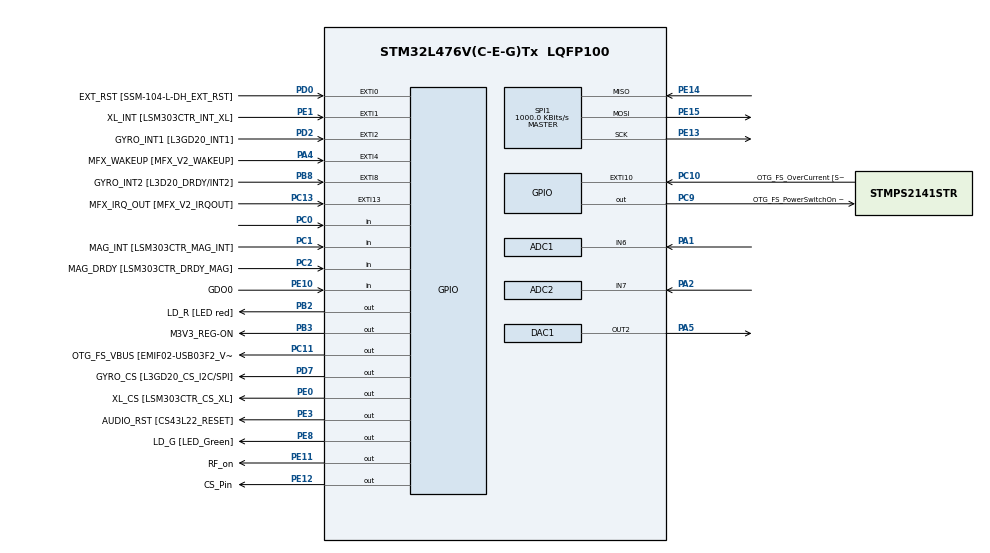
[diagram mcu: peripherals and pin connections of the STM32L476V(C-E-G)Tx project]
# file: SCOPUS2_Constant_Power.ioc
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ADC1.Channel-0\#ChannelRegularConversion=ADC_CHANNEL_6
ADC1.NbrOfConversionFlag=1
ADC1.OffsetNumber-0\#ChannelRegularConversion=ADC_OFFSET_NONE
ADC1.Rank-0\#ChannelRegularConversion=1
ADC1.SamplingTime-0\#ChannelRegularConversion=ADC_SAMPLETIME_2CYCLES_5
ADC1.master=1
ADC2.Channel-1\#ChannelRegularConversion=ADC_CHANNEL_7
ADC2.NbrOfConversionFlag=1
ADC2.OffsetNumber-1\#ChannelRegularConversion=ADC_OFFSET_NONE
ADC2.Rank-1\#ChannelRegularConversion=1
ADC2.SamplingTime-1\#ChannelRegularConversion=ADC_SAMPLETIME_2CYCLES_5
DAC1.DAC_Channel-DAC_OUT2=DAC_CHANNEL_2
Mcu.Family=STM32L4
Mcu.Name=STM32L476V(C-E-G)Tx
Mcu.Package=LQFP100
NVIC.PriorityGroup=NVIC_PRIORITYGROUP_4
NVIC.TIM7_IRQn=true\:0\:0\:false\:false\:true\:true\:true
PA1.Signal=ADCx_IN6
PA10.GPIO_Label=COM2 [GH08172T_COM2]
PA10.GPIO_Mode=GPIO_MODE_AF_PP
PA10.GPIO_PuPd=GPIO_NOPULL
PA10.GPIO_Speed=GPIO_SPEED_FREQ_LOW
PA10.Signal=LCD_COM2
PA11.GPIO_Label=OTG_FS_DM [EMIF02-USB03F2_D-out]
PA11.GPIO_Mode=GPIO_MODE_AF_PP
PA11.GPIO_PuPd=GPIO_NOPULL
PA11.GPIO_Speed=GPIO_SPEED_FREQ_VERY_HIGH
PA11.Signal=USB_OTG_FS_DM
PA12.GPIO_Label=OTG_FS_DP [EMIF02-USB03F2_D+out]
PA12.GPIO_Mode=GPIO_MODE_AF_PP
PA12.GPIO_PuPd=GPIO_NOPULL
PA12.GPIO_Speed=GPIO_SPEED_FREQ_VERY_HIGH
PA12.Signal=USB_OTG_FS_DP
PA13\ (JTMS-SWDIO).GPIO_Label=SWDIO
PA13\ (JTMS-SWDIO).Signal=SYS_JTMS-SWDIO
PA14\ (JTCK-SWCLK).GPIO_Label=SWCLK
PA14\ (JTCK-SWCLK).Signal=SYS_JTCK-SWCLK
PA15\ (JTDI).GPIO_Label=SEG10 [GH08172T_SEG10]
PA15\ (JTDI).GPIO_Mode=GPIO_MODE_AF_PP
PA15\ (JTDI).GPIO_PuPd=GPIO_NOPULL
PA15\ (JTDI).GPIO_Speed=GPIO_SPEED_FREQ_LOW
PA15\ (JTDI).Signal=LCD_SEG17
PA2.Signal=ADCx_IN7
PA4.GPIO_Label=MFX_WAKEUP [MFX_V2_WAKEUP]
PA4.GPIO_ModeDefaultEXTI=GPIO_MODE_EVT_RISING
PA4.GPIO_PuPd=GPIO_NOPULL
PA4.Signal=GPXTI4
PA5.Signal=COMP_DAC12_group
PA6.GPIO_Label=SEG23 [GH08172T_SEG23]
PA6.GPIO_Mode=GPIO_MODE_AF_PP
PA6.GPIO_PuPd=GPIO_NOPULL
PA6.GPIO_Speed=GPIO_SPEED_FREQ_LOW
PA6.Signal=LCD_SEG3
PA7.GPIO_Label=SEG0 [GH08172T_SEG0]
PA7.GPIO_Mode=GPIO_MODE_AF_PP
PA7.GPIO_PuPd=GPIO_NOPULL
PA7.GPIO_Speed=GPIO_SPEED_FREQ_LOW
PA7.Signal=LCD_SEG4
PA8.GPIO_Label=COM0 [GH08172T_COM0]
PA8.GPIO_Mode=GPIO_MODE_AF_PP
PA8.GPIO_PuPd=GPIO_NOPULL
PA8.GPIO_Speed=GPIO_SPEED_FREQ_LOW
PA8.Signal=LCD_COM0
PA9.GPIO_Label=COM1 [GH08172T_COM1]
PA9.GPIO_Mode=GPIO_MODE_AF_PP
PA9.GPIO_PuPd=GPIO_NOPULL
PA9.GPIO_Speed=GPIO_SPEED_FREQ_LOW
PA9.Signal=LCD_COM1
PB0.GPIO_Label=SEG21 [GH08172T_SEG21]
PB0.GPIO_Mode=GPIO_MODE_AF_PP
PB0.GPIO_PuPd=GPIO_NOPULL
PB0.GPIO_Speed=GPIO_SPEED_FREQ_LOW
PB0.Signal=LCD_SEG5
PB1.GPIO_Label=SEG2 [GH08172T_SEG2]
PB1.GPIO_Mode=GPIO_MODE_AF_PP
PB1.GPIO_PuPd=GPIO_NOPULL
PB1.GPIO_Speed=GPIO_SPEED_FREQ_LOW
PB1.Signal=LCD_SEG6
PB10.GPIO_Label=MFX_I2C_SLC [MFX_V2_I2C_SCL]
PB10.GPIO_Mode=GPIO_MODE_AF_OD
PB10.GPIO_PuPdOD=GPIO_PULLUP
PB10.GPIO_Speed=GPIO_SPEED_FREQ_VERY_HIGH
PB10.Signal=I2C2_SCL
PB11.GPIO_Label=MFX_I2C_SDA [MFX_V2_I2C_SDA]
PB11.GPIO_Mode=GPIO_MODE_AF_OD
PB11.GPIO_PuPdOD=GPIO_PULLUP
PB11.GPIO_Speed=GPIO_SPEED_FREQ_VERY_HIGH
PB11.Signal=I2C2_SDA
PB12.GPIO_Label=SEG20 [GH08172T_SEG20]
PB12.GPIO_Mode=GPIO_MODE_AF_PP
PB12.GPIO_PuPd=GPIO_NOPULL
PB12.GPIO_Speed=GPIO_SPEED_FREQ_LOW
PB12.Signal=LCD_SEG12
PB13.GPIO_Label=SEG3 [GH08172T_SEG3]
PB13.GPIO_Mode=GPIO_MODE_AF_PP
PB13.GPIO_PuPd=GPIO_NOPULL
PB13.GPIO_Speed=GPIO_SPEED_FREQ_LOW
PB13.Signal=LCD_SEG13
PB14.GPIO_Label=SEG19 [GH08172T_SEG19]
PB14.GPIO_Mode=GPIO_MODE_AF_PP
PB14.GPIO_PuPd=GPIO_NOPULL
PB14.GPIO_Speed=GPIO_SPEED_FREQ_LOW
PB14.Signal=LCD_SEG14
PB15.GPIO_Label=SEG4 [GH08172T_SEG4]
PB15.GPIO_Mode=GPIO_MODE_AF_PP
PB15.GPIO_PuPd=GPIO_NOPULL
PB15.GPIO_Speed=GPIO_SPEED_FREQ_LOW
PB15.Signal=LCD_SEG15
PB2.GPIO_Label=LD_R [LED red]
PB2.GPIO_ModeDefaultOutputPP=GPIO_MODE_OUTPUT_PP
PB2.GPIO_PuPd=GPIO_PULLUP
PB2.GPIO_Speed=GPIO_SPEED_FREQ_VERY_HIGH
PB2.Signal=GPIO_Output
PB3\ (JTDO-TRACESWO).GPIO_Label=M3V3_REG-ON
PB3\ (JTDO-TRACESWO).GPIO_ModeDefaultOutputPP=GPIO_MODE_OUTPUT_PP
PB3\ (JTDO-TRACESWO).GPIO_PuPd=GPIO_NOPULL
PB3\ (JTDO-TRACESWO).GPIO_Speed=GPIO_SPEED_FREQ_LOW
PB3\ (JTDO-TRACESWO).Signal=GPIO_Output
PB4\ (NJTRST).GPIO_Label=SEG11 [GH08172T_SEG11]
PB4\ (NJTRST).GPIO_Mode=GPIO_MODE_AF_PP
PB4\ (NJTRST).GPIO_PuPd=GPIO_NOPULL
PB4\ (NJTRST).GPIO_Speed=GPIO_SPEED_FREQ_LOW
PB4\ (NJTRST).Signal=LCD_SEG8
PB5.GPIO_Label=SEG12 [GH08172T_SEG12]
PB5.GPIO_Mode=GPIO_MODE_AF_PP
PB5.GPIO_PuPd=GPIO_NOPULL
PB5.GPIO_Speed=GPIO_SPEED_FREQ_LOW
PB5.Signal=LCD_SEG9
PB6.GPIO_FM6=__NULL
PB6.GPIO_Label=I2C1_SCL [SSM-104-L-DH_SCL]
PB6.GPIO_Mode=GPIO_MODE_AF_OD
PB6.GPIO_PuPdOD=GPIO_PULLUP
PB6.GPIO_Speed=GPIO_SPEED_FREQ_VERY_HIGH
PB6.Signal=I2C1_SCL
PB7.GPIO_FM7=__NULL
PB7.GPIO_Label=I2C1_SDA [SSM-104-L-DH_SDA]
PB7.GPIO_Mode=GPIO_MODE_AF_OD
PB7.GPIO_PuPdOD=GPIO_PULLUP
PB7.GPIO_Speed=GPIO_SPEED_FREQ_VERY_HIGH
PB7.Signal=I2C1_SDA
PB8.GPIO_Label=GYRO_INT2 [L3D20_DRDY/INT2]
PB8.GPIO_ModeDefaultEXTI=GPIO_MODE_EVT_RISING
PB8.GPIO_PuPd=GPIO_NOPULL
PB8.Signal=GPXTI8
PB9.GPIO_FM9=__NULL
PB9.GPIO_Label=COM3 [GH08172T_COM3]
PB9.GPIO_Mode=GPIO_MODE_AF_PP
PB9.GPIO_PuPd=GPIO_NOPULL
PB9.GPIO_Speed=GPIO_SPEED_FREQ_LOW
PB9.Signal=LCD_COM3
PC0.Signal=GPIO_Input
PC1.GPIO_Label=MAG_INT [LSM303CTR_MAG_INT]
PC1.GPIO_Mode=GPIO_MODE_INPUT
PC1.GPIO_PuPd=GPIO_NOPULL
PC1.Signal=GPIO_Input
PC10.GPIO_Label=OTG_FS_OverCurrent [STMPS2141STR_FAULT]
PC10.GPIO_ModeDefaultEXTI=GPIO_MODE_EVT_RISING
PC10.GPIO_PuPd=GPIO_NOPULL
PC10.Signal=GPXTI10
PC11.GPIO_Label=OTG_FS_VBUS [EMIF02-USB03F2_Vbus]
PC11.GPIO_ModeDefaultOutputPP=GPIO_MODE_OUTPUT_PP
PC11.GPIO_PuPd=GPIO_NOPULL
PC11.GPIO_Speed=GPIO_SPEED_FREQ_LOW
PC11.Signal=GPIO_Output
PC13.GPIO_Label=MFX_IRQ_OUT [MFX_V2_IRQOUT]
PC13.GPIO_ModeDefaultEXTI=GPIO_MODE_EVT_RISING
PC13.GPIO_PuPd=GPIO_NOPULL
PC13.Signal=GPXTI13
PC14-OSC32_IN\ (PC14).Signal=RCC_OSC32_IN
PC15-OSC32_OUT\ (PC15).Signal=RCC_OSC32_OUT
PC2.GPIO_Label=MAG_DRDY [LSM303CTR_DRDY_MAG]
PC2.GPIO_Mode=GPIO_MODE_INPUT
PC2.GPIO_PuPd=GPIO_NOPULL
PC2.Signal=GPIO_Input
PC3.GPIO_Label=VLCD
PC3.GPIO_Mode=GPIO_MODE_AF_PP
PC3.GPIO_PuPd=GPIO_NOPULL
PC3.GPIO_Speed=GPIO_SPEED_FREQ_LOW
PC3.Signal=LCD_VLCD
PC4.GPIO_Label=SEG22 [GH08172T_SEG22]
PC4.GPIO_Mode=GPIO_MODE_AF_PP
PC4.GPIO_PuPd=GPIO_NOPULL
PC4.GPIO_Speed=GPIO_SPEED_FREQ_LOW
PC4.Signal=LCD_SEG22
PC5.GPIO_Label=SEG1 [GH08172T_SEG1]
PC5.GPIO_Mode=GPIO_MODE_AF_PP
PC5.GPIO_PuPd=GPIO_NOPULL
PC5.GPIO_Speed=GPIO_SPEED_FREQ_LOW
PC5.Signal=LCD_SEG23
PC6.GPIO_Label=SEG14 [GH08172T_SEG14]
PC6.GPIO_Mode=GPIO_MODE_AF_PP
PC6.GPIO_PuPd=GPIO_NOPULL
PC6.GPIO_Speed=GPIO_SPEED_FREQ_LOW
PC6.Signal=LCD_SEG24
PC7.GPIO_Label=SEG9 [GH08172T_SEG9]
PC7.GPIO_Mode=GPIO_MODE_AF_PP
PC7.GPIO_PuPd=GPIO_NOPULL
PC7.GPIO_Speed=GPIO_SPEED_FREQ_LOW
PC7.Signal=LCD_SEG25
PC8.GPIO_Label=SEG13 [GH08172T_SEG13]
PC8.GPIO_Mode=GPIO_MODE_AF_PP
PC8.GPIO_PuPd=GPIO_NOPULL
PC8.GPIO_Speed=GPIO_SPEED_FREQ_LOW
PC8.Signal=LCD_SEG26
PC9.GPIO_Label=OTG_FS_PowerSwitchOn [STMPS2141STR_EN]
PC9.GPIO_ModeDefaultOutputPP=GPIO_MODE_OUTPUT_PP
PC9.GPIO_PuPd=GPIO_NOPULL
PC9.GPIO_Speed=GPIO_SPEED_FREQ_LOW
PC9.PinState=GPIO_PIN_SET
PC9.Signal=GPIO_Output
PD0.GPIO_Label=EXT_RST [SSM-104-L-DH_EXT_RST]
PD0.GPIO_ModeDefaultEXTI=GPIO_MODE_EVT_RISING
PD0.GPIO_PuPd=GPIO_NOPULL
PD0.Signal=GPXTI0
PD1.GPIO_Label=MEMS_SCK [L3GD20_SCL/SPC]
PD1.GPIO_Mode=GPIO_MODE_AF_PP
PD1.GPIO_PuPd=GPIO_NOPULL
PD1.GPIO_Speed=GPIO_SPEED_FREQ_VERY_HIGH
PD1.Signal=SPI2_SCK
PD10.GPIO_Label=SEG17 [GH08172T_SEG17]
PD10.GPIO_Mode=GPIO_MODE_AF_PP
PD10.GPIO_PuPd=GPIO_NOPULL
PD10.GPIO_Speed=GPIO_SPEED_FREQ_LOW
PD10.Signal=LCD_SEG30
PD11.GPIO_Label=SEG6 [GH08172T_SEG6]
PD11.GPIO_Mode=GPIO_MODE_AF_PP
PD11.GPIO_PuPd=GPIO_NOPULL
PD11.GPIO_Speed=GPIO_SPEED_FREQ_LOW
PD11.Signal=LCD_SEG31
PD12.GPIO_Label=SEG16 [GH08172T_SEG16]
PD12.GPIO_Mode=GPIO_MODE_AF_PP
PD12.GPIO_PuPd=GPIO_NOPULL
PD12.GPIO_Speed=GPIO_SPEED_FREQ_LOW
PD12.Signal=LCD_SEG32
PD13.GPIO_Label=SEG7 [GH08172T_SEG7]
PD13.GPIO_Mode=GPIO_MODE_AF_PP
PD13.GPIO_PuPd=GPIO_NOPULL
PD13.GPIO_Speed=GPIO_SPEED_FREQ_LOW
PD13.Signal=LCD_SEG33
PD14.GPIO_Label=SEG15 [GH08172T_SEG15]
PD14.GPIO_Mode=GPIO_MODE_AF_PP
PD14.GPIO_PuPd=GPIO_NOPULL
PD14.GPIO_Speed=GPIO_SPEED_FREQ_LOW
PD14.Signal=LCD_SEG34
PD15.GPIO_Label=SEG8 [GH08172T_SEG8]
PD15.GPIO_Mode=GPIO_MODE_AF_PP
PD15.GPIO_PuPd=GPIO_NOPULL
PD15.GPIO_Speed=GPIO_SPEED_FREQ_LOW
PD15.Signal=LCD_SEG35
PD2.GPIO_Label=GYRO_INT1 [L3GD20_INT1]
PD2.GPIO_ModeDefaultEXTI=GPIO_MODE_EVT_RISING
PD2.GPIO_PuPd=GPIO_NOPULL
PD2.Signal=GPXTI2
PD3.GPIO_Label=MEMS_MISO [L3GD20_SA0/SDO]
PD3.GPIO_Mode=GPIO_MODE_AF_PP
PD3.GPIO_PuPd=GPIO_NOPULL
PD3.GPIO_Speed=GPIO_SPEED_FREQ_VERY_HIGH
PD3.Signal=SPI2_MISO
PD4.GPIO_Label=MEMS_MOSI [L3GD20_SDA/SDI/SDO]
PD4.GPIO_Mode=GPIO_MODE_AF_PP
PD4.GPIO_PuPd=GPIO_NOPULL
PD4.GPIO_Speed=GPIO_SPEED_FREQ_VERY_HIGH
PD4.Signal=SPI2_MOSI
PD5.GPIO_Label=USART_TX
PD5.GPIO_Mode=GPIO_MODE_AF_PP
PD5.GPIO_PuPd=GPIO_PULLUP
PD5.GPIO_Speed=GPIO_SPEED_FREQ_VERY_HIGH
PD5.Signal=USART2_TX
PD6.GPIO_Label=USART_RX
PD6.GPIO_Mode=GPIO_MODE_AF_PP
PD6.GPIO_PuPd=GPIO_PULLUP
PD6.GPIO_Speed=GPIO_SPEED_FREQ_VERY_HIGH
PD6.Signal=USART2_RX
PD7.GPIO_Label=GYRO_CS [L3GD20_CS_I2C/SPI]
PD7.GPIO_ModeDefaultOutputPP=GPIO_MODE_OUTPUT_PP
PD7.GPIO_PuPd=GPIO_NOPULL
PD7.GPIO_Speed=GPIO_SPEED_FREQ_VERY_HIGH
PD7.Signal=GPIO_Output
PD8.GPIO_Label=SEG18 [GH08172T_SEG18]
PD8.GPIO_Mode=GPIO_MODE_AF_PP
PD8.GPIO_PuPd=GPIO_NOPULL
PD8.GPIO_Speed=GPIO_SPEED_FREQ_LOW
PD8.Signal=LCD_SEG28
PD9.GPIO_Label=SEG5 [GH08172T_SEG5]
PD9.GPIO_Mode=GPIO_MODE_AF_PP
PD9.GPIO_PuPd=GPIO_NOPULL
PD9.GPIO_Speed=GPIO_SPEED_FREQ_LOW
PD9.Signal=LCD_SEG29
PE0.GPIO_Label=XL_CS [LSM303CTR_CS_XL]
PE0.GPIO_ModeDefaultOutputPP=GPIO_MODE_OUTPUT_PP
PE0.GPIO_PuPd=GPIO_NOPULL
PE0.GPIO_Speed=GPIO_SPEED_FREQ_LOW
PE0.Signal=GPIO_Output
PE1.GPIO_Label=XL_INT [LSM303CTR_INT_XL]
PE1.GPIO_ModeDefaultEXTI=GPIO_MODE_EVT_RISING
PE1.GPIO_PuPd=GPIO_NOPULL
PE1.Signal=GPXTI1
PE10.GPIO_Label=GDO0
PE10.Signal=GPIO_Input
PE11.GPIO_Label=RF_on
PE11.Signal=GPIO_Output
PE12.GPIO_Label=CS_Pin
PE12.Signal=GPIO_Output
PE13.Mode=Full_Duplex_Master
PE13.Signal=SPI1_SCK
PE14.Mode=Full_Duplex_Master
PE14.Signal=SPI1_MISO
PE15.Mode=Full_Duplex_Master
PE15.Signal=SPI1_MOSI
PE2.GPIO_Label=SAI1_MCK [CS43L22_MCLK]
PE2.GPIO_Mode=GPIO_MODE_AF_PP
PE2.GPIO_PuPd=GPIO_NOPULL
PE2.GPIO_Speed=GPIO_SPEED_FREQ_VERY_HIGH
PE2.Signal=SAI1_MCLK_A
PE3.GPIO_Label=AUDIO_RST [CS43L22_RESET]
PE3.GPIO_ModeDefaultOutputPP=GPIO_MODE_OUTPUT_PP
PE3.GPIO_PuPd=GPIO_NOPULL
PE3.GPIO_Speed=GPIO_SPEED_FREQ_HIGH
PE3.Signal=GPIO_Output
PE4.GPIO_Label=SAI1_FS [CS43L22_LRCK]
PE4.GPIO_Mode=GPIO_MODE_AF_PP
PE4.GPIO_PuPd=GPIO_NOPULL
PE4.GPIO_Speed=GPIO_SPEED_FREQ_VERY_HIGH
PE4.Signal=SAI1_FS_A
PE5.GPIO_Label=SAI1_SCK [CS43L22_SCLK]
PE5.GPIO_Mode=GPIO_MODE_AF_PP
PE5.GPIO_PuPd=GPIO_NOPULL
PE5.GPIO_Speed=GPIO_SPEED_FREQ_VERY_HIGH
PE5.Signal=SAI1_SCK_A
PE6.GPIO_Label=SAI1_SD [CS43L22_SDIN]
PE6.GPIO_Mode=GPIO_MODE_AF_PP
PE6.GPIO_PuPd=GPIO_NOPULL
PE6.GPIO_Speed=GPIO_SPEED_FREQ_VERY_HIGH
PE6.Signal=SAI1_SD_A
PE7.GPIO_Label=AUDIO_DIN [MP34DT01_DOUT]
PE7.GPIO_Mode=GPIO_MODE_AF_PP
PE7.GPIO_PuPd=GPIO_NOPULL
PE7.GPIO_Speed=GPIO_SPEED_FREQ_VERY_HIGH
PE7.Signal=SAI1_SD_B
PE8.GPIO_Label=LD_G [LED_Green]
PE8.GPIO_ModeDefaultOutputPP=GPIO_MODE_OUTPUT_PP
PE8.GPIO_PuPd=GPIO_PULLUP
PE8.GPIO_Speed=GPIO_SPEED_FREQ_VERY_HIGH
PE8.Signal=GPIO_Output
PE9.GPIO_Label=AUDIO_CLK [MP34DT01_CLK]
PE9.GPIO_Mode=GPIO_MODE_AF_PP
PE9.GPIO_PuPd=GPIO_NOPULL
PE9.GPIO_Speed=GPIO_SPEED_FREQ_LOW
PE9.Signal=SAI1_FS_B
PH0-OSC_IN\ (PH0).Signal=RCC_OSC_IN
PH1-OSC_OUT\ (PH1).Signal=RCC_OSC_OUT
ProjectManager.HeapSize=0x200
ProjectManager.StackSize=0x400
ProjectManager.TargetToolchain=SW4STM32
RCC.ADCFreq_Value=32000000
RCC.CortexFreq_Value=4000000
RCC.HSE_VALUE=8000000
RCC.HSI_VALUE=16000000
RCC.LSE_VALUE=32768
RCC.MSI_VALUE=4000000
RCC.PLLSAI1N=16
RCC.PREFETCH_ENABLE=1
RCC.USBFreq_Value=32000000
RCC.VCOOutputFreq_Value=32000000
SH.ADCx_IN6.0=ADC1_IN6,IN6-Single-Ended
SH.ADCx_IN7.0=ADC2_IN7,IN7-Single-Ended
SH.COMP_DAC12_group.0=DAC1_OUT2,DAC_OUT2
SPI1.BaudRatePrescaler=SPI_BAUDRATEPRESCALER_4
SPI1.CalculateBaudRate=1000.0 KBits/s
SPI1.DataSize=SPI_DATASIZE_8BIT
SPI1.Direction=SPI_DIRECTION_2LINES
SPI1.Mode=SPI_MODE_MASTER
SPI1.VirtualType=VM_MASTER
TIM7.AutoReloadPreload=TIM_AUTORELOAD_PRELOAD_ENABLE
TIM7.Period=40000
TIM7.Prescaler=100
TIM7.TIM_MasterOutputTrigger=TIM_TRGO_UPDATE
VP_TIM7_VS_ClockSourceINT.Mode=Enable_Timer
board=STM32L476G-DISCO

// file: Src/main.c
/* USER CODE BEGIN Header */
/**
  ******************************************************************************
  * @brief          : Main program body
  * @file           : main.c
  ******************************************************************************
  * @attention
  *
  * <h2><center>&copy; Copyright (c) 2021 STMicroelectronics.
  * All rights reserved.</center></h2>
  *
  * This software component is licensed by ST under BSD 3-Clause license,
  * the "License"; You may not use this file except in compliance with the
  * License. You may obtain a copy of the License at:
  *                        opensource.org/licenses/BSD-3-Clause
  *
  ******************************************************************************
  */
/* USER CODE END Header */
#include "main.h"

ADC_HandleTypeDef hadc1;
ADC_HandleTypeDef hadc2;

DAC_HandleTypeDef hdac1;

SPI_HandleTypeDef hspi1;

TIM_HandleTypeDef htim7;

/* USER CODE BEGIN PV */
/*
 * DAC	- PA5
 * ADC1	- PA1
 * ADC2	- PA2
 */

/* USER CODE END PV */

void SystemClock_Config(void);
static void MX_GPIO_Init(void);
static void MX_ADC1_Init(void);
static void MX_TIM7_Init(void);
static void MX_ADC2_Init(void);
static void MX_DAC1_Init(void);
static void MX_SPI1_Init(void);

/* USER CODE BEGIN 0 */
	uint32_t ADC_cal_value;
	uint16_t ADC1_value, ADC2_value;// Voltage, Current
	int ADC1_voltage, ADC2_voltage;// calculated Voltage ADC1, calculated Voltage ADC2
	int ADC_difference;
	int I_current;
	int Pwr;// Calculated power
	uint32_t ConstantPower=3000;// Reference power * 1000 * 1000 for uWt scale
	int R_Current=100;// Current sensor, Ohms

	int DAC_Step;// add or subtract
	int DAC_Value=0;// to be set
	int PrevRegulationError, RegulationError, P_regulator, I_regulator, D_regulator, kP=10, kI=1, kD=0;

	// 1 measurement per second
	#define t_seconds 10000// data size
	uint16_t i_seconds=0;// voltage array pointer
	uint16_t ADC1_data[t_seconds]={0};// Voltage
	uint16_t ADC2_data[t_seconds]={0};// Current
	uint32_t DAC_data[t_seconds]={0};// DAC to be set

//SoftTimer is based on interrupt
struct SoftTimer {
	uint32_t counter;
	uint32_t frame;// duration
	char flag;
} SoftTimer1ms, SoftTimer1000ms, SoftTimer1min;

void incrementer(struct SoftTimer *softtimer){
	softtimer->counter++;
	if (softtimer->counter==softtimer->frame){
		softtimer->flag=1;
		softtimer->counter=0;
	}
}

/* USER CODE END 0 */

int main(void)
{

  /* MCU Configuration--------------------------------------------------------*/

  /* Reset of all peripherals, Initializes the Flash interface and the Systick. */
  HAL_Init();

  /* USER CODE BEGIN Init */
  SoftTimer1ms.frame=100;
  SoftTimer1000ms.frame=5000;// 5 sec !
  SoftTimer1min.frame=1*60*1000;

  /* USER CODE END Init */

  /* Configure the system clock */
  SystemClock_Config();

  /* Initialize all configured peripherals */
	MX_GPIO_Init();
	MX_ADC1_Init();
	MX_TIM7_Init();
	MX_ADC2_Init();
	MX_DAC1_Init();
	MX_SPI1_Init();
/* USER CODE BEGIN 2 */
	HAL_TIM_Base_Start_IT(&htim7);
	HAL_DAC_Start(&hdac1,DAC_CHANNEL_2);

	//Calibrate ADC1
	HAL_ADCEx_Calibration_Start(&hadc1, ADC_SINGLE_ENDED);
	ADC_cal_value=HAL_ADCEx_Calibration_GetValue(&hadc1, ADC_SINGLE_ENDED);
	HAL_ADCEx_Calibration_SetValue(&hadc1, ADC_SINGLE_ENDED, ADC_cal_value);

	//Calibrate ADC2
	HAL_ADCEx_Calibration_Start(&hadc2, ADC_SINGLE_ENDED);
	ADC_cal_value=HAL_ADCEx_Calibration_GetValue(&hadc2, ADC_SINGLE_ENDED);
	HAL_ADCEx_Calibration_SetValue(&hadc2, ADC_SINGLE_ENDED, ADC_cal_value);
  /* USER CODE END 2 */

  /* Infinite loop */
  /* USER CODE BEGIN WHILE */
  while (1)
  {
	  // measure if 1 ms has passed
	  if (SoftTimer1ms.flag==1){

		//get Voltage
		HAL_ADC_Start(&hadc1);
		HAL_ADC_PollForConversion(&hadc1,10);
		ADC1_value = (uint32_t) HAL_ADC_GetValue(&hadc1);
		HAL_ADC_Stop(&hadc1);
		ADC1_voltage=ADC1_value*3000/4096;

		//get Current
		HAL_ADC_Start(&hadc2);
		HAL_ADC_PollForConversion(&hadc2,10);
		ADC2_value = (uint32_t) HAL_ADC_GetValue(&hadc2);
		HAL_ADC_Stop(&hadc2);
		ADC2_voltage=ADC2_value*3000/4096;

		//calculating Power in several steps
		//P=V*I*1000 (uWt)
		ADC_difference=ADC2_voltage-ADC1_voltage;
		I_current=ADC_difference/R_Current;
		Pwr=ADC1_voltage*2*2*ADC_difference/R_Current;// capacitor voltage, voltage divider by two

		//PID regulator
		PrevRegulationError=RegulationError;
		RegulationError=ConstantPower-Pwr;
		P_regulator=kP*RegulationError;
		I_regulator=I_regulator+kI*RegulationError;
		D_regulator=kD*(RegulationError-PrevRegulationError);
		DAC_Step=(P_regulator+I_regulator+D_regulator)/1000;

		if ((DAC_Value+DAC_Step)<0){;}
		else {
			DAC_Value=DAC_Value+DAC_Step;
		}

		if(DAC_Value>4000){
			DAC_Value=4000;
		}
		if(DAC_Value<0){
			DAC_Value=0;
		}

		//set voltage to be amplified by the operational amplifier
		HAL_DAC_SetValue(&hdac1,DAC_CHANNEL_2,DAC_ALIGN_12B_R,(uint32_t)DAC_Value);

		SoftTimer1ms.flag=0;
	  }

		// write voltage, current, DAC_value
	  if (SoftTimer1000ms.flag==1){// if period has passed
		 ADC1_data[i_seconds]=ADC1_value;
		 ADC2_data[i_seconds]=ADC2_value;
		 DAC_data[i_seconds]=DAC_Value;

		 i_seconds++;
		 SoftTimer1000ms.flag=0;
	  }

	  // Turn on the indicator
	  if (SoftTimer1min.flag==1){
		  HAL_GPIO_WritePin(RF_on_GPIO_Port, RF_on_Pin, GPIO_PIN_SET);
		  HAL_Delay(100);
		  HAL_GPIO_WritePin(RF_on_GPIO_Port, RF_on_Pin, GPIO_PIN_RESET);
		  SoftTimer1min.flag=0;
	  }

	  // To indicate If capacitor has finished charging
	  if (ADC1_value>3500){
	  	  HAL_GPIO_WritePin(RF_on_GPIO_Port, RF_on_Pin, GPIO_PIN_SET);// Place for the breakpoint that stops the MCU
	  }
	  else {
	  	  HAL_GPIO_WritePin(RF_on_GPIO_Port, RF_on_Pin, GPIO_PIN_RESET);
	  }
    /* USER CODE END WHILE */
  }
  /* USER CODE END 3 */
}

void SystemClock_Config(void)
{
  RCC_OscInitTypeDef RCC_OscInitStruct = {0};
  RCC_ClkInitTypeDef RCC_ClkInitStruct = {0};
  RCC_PeriphCLKInitTypeDef PeriphClkInit = {0};

  /** Initializes the RCC Oscillators according to the specified parameters
  * in the RCC_OscInitTypeDef structure.
  */
  RCC_OscInitStruct.OscillatorType = RCC_OSCILLATORTYPE_MSI;
  RCC_OscInitStruct.MSIState = RCC_MSI_ON;
  RCC_OscInitStruct.MSICalibrationValue = 0;
  RCC_OscInitStruct.MSIClockRange = RCC_MSIRANGE_6;
  RCC_OscInitStruct.PLL.PLLState = RCC_PLL_NONE;
  if (HAL_RCC_OscConfig(&RCC_OscInitStruct) != HAL_OK)
  {
    Error_Handler();
  }
  /** Initializes the CPU, AHB and APB buses clocks
  */
  RCC_ClkInitStruct.ClockType = RCC_CLOCKTYPE_HCLK|RCC_CLOCKTYPE_SYSCLK
                              |RCC_CLOCKTYPE_PCLK1|RCC_CLOCKTYPE_PCLK2;
  RCC_ClkInitStruct.SYSCLKSource = RCC_SYSCLKSOURCE_MSI;
  RCC_ClkInitStruct.AHBCLKDivider = RCC_SYSCLK_DIV1;
  RCC_ClkInitStruct.APB1CLKDivider = RCC_HCLK_DIV1;
  RCC_ClkInitStruct.APB2CLKDivider = RCC_HCLK_DIV1;

  if (HAL_RCC_ClockConfig(&RCC_ClkInitStruct, FLASH_LATENCY_0) != HAL_OK)
  {
    Error_Handler();
  }
  PeriphClkInit.PeriphClockSelection = RCC_PERIPHCLK_ADC;
  PeriphClkInit.AdcClockSelection = RCC_ADCCLKSOURCE_PLLSAI1;
  PeriphClkInit.PLLSAI1.PLLSAI1Source = RCC_PLLSOURCE_MSI;
  PeriphClkInit.PLLSAI1.PLLSAI1M = 1;
  PeriphClkInit.PLLSAI1.PLLSAI1N = 16;
  PeriphClkInit.PLLSAI1.PLLSAI1P = RCC_PLLP_DIV7;
  PeriphClkInit.PLLSAI1.PLLSAI1Q = RCC_PLLQ_DIV2;
  PeriphClkInit.PLLSAI1.PLLSAI1R = RCC_PLLR_DIV2;
  PeriphClkInit.PLLSAI1.PLLSAI1ClockOut = RCC_PLLSAI1_ADC1CLK;
  if (HAL_RCCEx_PeriphCLKConfig(&PeriphClkInit) != HAL_OK)
  {
    Error_Handler();
  }
  /** Configure the main internal regulator output voltage
  */
  if (HAL_PWREx_ControlVoltageScaling(PWR_REGULATOR_VOLTAGE_SCALE1) != HAL_OK)
  {
    Error_Handler();
  }
}

static void MX_ADC1_Init(void)
{

  ADC_MultiModeTypeDef multimode = {0};
  ADC_ChannelConfTypeDef sConfig = {0};

  /** Common config
  */
  hadc1.Instance = ADC1;
  hadc1.Init.ClockPrescaler = ADC_CLOCK_ASYNC_DIV1;
  hadc1.Init.Resolution = ADC_RESOLUTION_12B;
  hadc1.Init.DataAlign = ADC_DATAALIGN_RIGHT;
  hadc1.Init.ScanConvMode = ADC_SCAN_DISABLE;
  hadc1.Init.EOCSelection = ADC_EOC_SINGLE_CONV;
  hadc1.Init.LowPowerAutoWait = DISABLE;
  hadc1.Init.ContinuousConvMode = DISABLE;
  hadc1.Init.NbrOfConversion = 1;
  hadc1.Init.DiscontinuousConvMode = DISABLE;
  hadc1.Init.ExternalTrigConv = ADC_SOFTWARE_START;
  hadc1.Init.ExternalTrigConvEdge = ADC_EXTERNALTRIGCONVEDGE_NONE;
  hadc1.Init.DMAContinuousRequests = DISABLE;
  hadc1.Init.Overrun = ADC_OVR_DATA_PRESERVED;
  hadc1.Init.OversamplingMode = DISABLE;
  if (HAL_ADC_Init(&hadc1) != HAL_OK)
  {
    Error_Handler();
  }
  /** Configure the ADC multi-mode
  */
  multimode.Mode = ADC_MODE_INDEPENDENT;
  if (HAL_ADCEx_MultiModeConfigChannel(&hadc1, &multimode) != HAL_OK)
  {
    Error_Handler();
  }
  /** Configure Regular Channel
  */
  sConfig.Channel = ADC_CHANNEL_6;
  sConfig.Rank = ADC_REGULAR_RANK_1;
  sConfig.SamplingTime = ADC_SAMPLETIME_2CYCLES_5;
  sConfig.SingleDiff = ADC_SINGLE_ENDED;
  sConfig.OffsetNumber = ADC_OFFSET_NONE;
  sConfig.Offset = 0;
  if (HAL_ADC_ConfigChannel(&hadc1, &sConfig) != HAL_OK)
  {
    Error_Handler();
  }

}

static void MX_ADC2_Init(void)
{

  ADC_ChannelConfTypeDef sConfig = {0};

  /** Common config
  */
  hadc2.Instance = ADC2;
  hadc2.Init.ClockPrescaler = ADC_CLOCK_ASYNC_DIV1;
  hadc2.Init.Resolution = ADC_RESOLUTION_12B;
  hadc2.Init.DataAlign = ADC_DATAALIGN_RIGHT;
  hadc2.Init.ScanConvMode = ADC_SCAN_DISABLE;
  hadc2.Init.EOCSelection = ADC_EOC_SINGLE_CONV;
  hadc2.Init.LowPowerAutoWait = DISABLE;
  hadc2.Init.ContinuousConvMode = DISABLE;
  hadc2.Init.NbrOfConversion = 1;
  hadc2.Init.DiscontinuousConvMode = DISABLE;
  hadc2.Init.ExternalTrigConv = ADC_SOFTWARE_START;
  hadc2.Init.ExternalTrigConvEdge = ADC_EXTERNALTRIGCONVEDGE_NONE;
  hadc2.Init.DMAContinuousRequests = DISABLE;
  hadc2.Init.Overrun = ADC_OVR_DATA_PRESERVED;
  hadc2.Init.OversamplingMode = DISABLE;
  if (HAL_ADC_Init(&hadc2) != HAL_OK)
  {
    Error_Handler();
  }
  /** Configure Regular Channel
  */
  sConfig.Channel = ADC_CHANNEL_7;
  sConfig.Rank = ADC_REGULAR_RANK_1;
  sConfig.SamplingTime = ADC_SAMPLETIME_2CYCLES_5;
  sConfig.SingleDiff = ADC_SINGLE_ENDED;
  sConfig.OffsetNumber = ADC_OFFSET_NONE;
  sConfig.Offset = 0;
  if (HAL_ADC_ConfigChannel(&hadc2, &sConfig) != HAL_OK)
  {
    Error_Handler();
  }

}

static void MX_DAC1_Init(void)
{

  DAC_ChannelConfTypeDef sConfig = {0};

  /** DAC Initialization
  */
  hdac1.Instance = DAC1;
  if (HAL_DAC_Init(&hdac1) != HAL_OK)
  {
    Error_Handler();
  }
  /** DAC channel OUT2 config
  */
  sConfig.DAC_SampleAndHold = DAC_SAMPLEANDHOLD_DISABLE;
  sConfig.DAC_Trigger = DAC_TRIGGER_NONE;
  sConfig.DAC_OutputBuffer = DAC_OUTPUTBUFFER_ENABLE;
  sConfig.DAC_ConnectOnChipPeripheral = DAC_CHIPCONNECT_DISABLE;
  sConfig.DAC_UserTrimming = DAC_TRIMMING_FACTORY;
  if (HAL_DAC_ConfigChannel(&hdac1, &sConfig, DAC_CHANNEL_2) != HAL_OK)
  {
    Error_Handler();
  }

}

static void MX_SPI1_Init(void)
{

  /* SPI1 parameter configuration*/
  hspi1.Instance = SPI1;
  hspi1.Init.Mode = SPI_MODE_MASTER;
  hspi1.Init.Direction = SPI_DIRECTION_2LINES;
  hspi1.Init.DataSize = SPI_DATASIZE_8BIT;
  hspi1.Init.CLKPolarity = SPI_POLARITY_LOW;
  hspi1.Init.CLKPhase = SPI_PHASE_1EDGE;
  hspi1.Init.NSS = SPI_NSS_SOFT;
  hspi1.Init.BaudRatePrescaler = SPI_BAUDRATEPRESCALER_4;
  hspi1.Init.FirstBit = SPI_FIRSTBIT_MSB;
  hspi1.Init.TIMode = SPI_TIMODE_DISABLE;
  hspi1.Init.CRCCalculation = SPI_CRCCALCULATION_DISABLE;
  hspi1.Init.CRCPolynomial = 7;
  hspi1.Init.CRCLength = SPI_CRC_LENGTH_DATASIZE;
  hspi1.Init.NSSPMode = SPI_NSS_PULSE_ENABLE;
  if (HAL_SPI_Init(&hspi1) != HAL_OK)
  {
    Error_Handler();
  }

}

static void MX_TIM7_Init(void)
{

  TIM_MasterConfigTypeDef sMasterConfig = {0};

  htim7.Instance = TIM7;
  htim7.Init.Prescaler = 1;
  htim7.Init.CounterMode = TIM_COUNTERMODE_UP;
  htim7.Init.Period = 2000;
  htim7.Init.AutoReloadPreload = TIM_AUTORELOAD_PRELOAD_ENABLE;
  if (HAL_TIM_Base_Init(&htim7) != HAL_OK)
  {
    Error_Handler();
  }
  sMasterConfig.MasterOutputTrigger = TIM_TRGO_UPDATE;
  sMasterConfig.MasterSlaveMode = TIM_MASTERSLAVEMODE_DISABLE;
  if (HAL_TIMEx_MasterConfigSynchronization(&htim7, &sMasterConfig) != HAL_OK)
  {
    Error_Handler();
  }
  /* USER CODE BEGIN TIM7_Init 2 */
  htim7.Init.Prescaler = 1;//1 ms
  htim7.Init.Period = 2000;
  /* USER CODE END TIM7_Init 2 */

}

static void MX_GPIO_Init(void)
{
  GPIO_InitTypeDef GPIO_InitStruct = {0};

  /* GPIO Ports Clock Enable */
  __HAL_RCC_GPIOE_CLK_ENABLE();
  __HAL_RCC_GPIOC_CLK_ENABLE();
  __HAL_RCC_GPIOH_CLK_ENABLE();
  __HAL_RCC_GPIOA_CLK_ENABLE();
  __HAL_RCC_GPIOB_CLK_ENABLE();
  __HAL_RCC_GPIOD_CLK_ENABLE();

  /*Configure GPIO pin Output Level */
  HAL_GPIO_WritePin(GPIOE, AUDIO_RST_Pin|LD_G_Pin|RF_on_Pin|CS_Pin_Pin
                          |XL_CS_Pin, GPIO_PIN_RESET);

  /*Configure GPIO pin Output Level */
  HAL_GPIO_WritePin(GPIOB, LD_R_Pin|M3V3_REG_ON_Pin, GPIO_PIN_RESET);

  /*Configure GPIO pin Output Level */
  HAL_GPIO_WritePin(OTG_FS_PowerSwitchOn_GPIO_Port, OTG_FS_PowerSwitchOn_Pin, GPIO_PIN_SET);

  /*Configure GPIO pin Output Level */
  HAL_GPIO_WritePin(OTG_FS_VBUS_GPIO_Port, OTG_FS_VBUS_Pin, GPIO_PIN_RESET);

  /*Configure GPIO pin Output Level */
  HAL_GPIO_WritePin(GYRO_CS_GPIO_Port, GYRO_CS_Pin, GPIO_PIN_RESET);

  /*Configure GPIO pins : SAI1_MCK_Pin SAI1_FS_Pin SAI1_SCK_Pin SAI1_SD_Pin
                           AUDIO_DIN_Pin */
  GPIO_InitStruct.Pin = SAI1_MCK_Pin|SAI1_FS_Pin|SAI1_SCK_Pin|SAI1_SD_Pin
                          |AUDIO_DIN_Pin;
  GPIO_InitStruct.Mode = GPIO_MODE_AF_PP;
  GPIO_InitStruct.Pull = GPIO_NOPULL;
  GPIO_InitStruct.Speed = GPIO_SPEED_FREQ_VERY_HIGH;
  GPIO_InitStruct.Alternate = GPIO_AF13_SAI1;
  HAL_GPIO_Init(GPIOE, &GPIO_InitStruct);

  /*Configure GPIO pin : AUDIO_RST_Pin */
  GPIO_InitStruct.Pin = AUDIO_RST_Pin;
  GPIO_InitStruct.Mode = GPIO_MODE_OUTPUT_PP;
  GPIO_InitStruct.Pull = GPIO_NOPULL;
  GPIO_InitStruct.Speed = GPIO_SPEED_FREQ_HIGH;
  HAL_GPIO_Init(AUDIO_RST_GPIO_Port, &GPIO_InitStruct);

  /*Configure GPIO pins : MFX_IRQ_OUT_Pin OTG_FS_OverCurrent_Pin */
  GPIO_InitStruct.Pin = MFX_IRQ_OUT_Pin|OTG_FS_OverCurrent_Pin;
  GPIO_InitStruct.Mode = GPIO_MODE_EVT_RISING;
  GPIO_InitStruct.Pull = GPIO_NOPULL;
  HAL_GPIO_Init(GPIOC, &GPIO_InitStruct);

  /*Configure GPIO pins : PC0 MAG_INT_Pin MAG_DRDY_Pin */
  GPIO_InitStruct.Pin = GPIO_PIN_0|MAG_INT_Pin|MAG_DRDY_Pin;
  GPIO_InitStruct.Mode = GPIO_MODE_INPUT;
  GPIO_InitStruct.Pull = GPIO_NOPULL;
  HAL_GPIO_Init(GPIOC, &GPIO_InitStruct);

  /*Configure GPIO pins : VLCD_Pin SEG22_Pin SEG1_Pin SEG14_Pin
                           SEG9_Pin SEG13_Pin */
  GPIO_InitStruct.Pin = VLCD_Pin|SEG22_Pin|SEG1_Pin|SEG14_Pin
                          |SEG9_Pin|SEG13_Pin;
  GPIO_InitStruct.Mode = GPIO_MODE_AF_PP;
  GPIO_InitStruct.Pull = GPIO_NOPULL;
  GPIO_InitStruct.Speed = GPIO_SPEED_FREQ_LOW;
  GPIO_InitStruct.Alternate = GPIO_AF11_LCD;
  HAL_GPIO_Init(GPIOC, &GPIO_InitStruct);

  /*Configure GPIO pin : MFX_WAKEUP_Pin */
  GPIO_InitStruct.Pin = MFX_WAKEUP_Pin;
  GPIO_InitStruct.Mode = GPIO_MODE_EVT_RISING;
  GPIO_InitStruct.Pull = GPIO_NOPULL;
  HAL_GPIO_Init(MFX_WAKEUP_GPIO_Port, &GPIO_InitStruct);

  /*Configure GPIO pins : SEG23_Pin SEG0_Pin COM0_Pin COM1_Pin
                           COM2_Pin SEG10_Pin */
  GPIO_InitStruct.Pin = SEG23_Pin|SEG0_Pin|COM0_Pin|COM1_Pin
                          |COM2_Pin|SEG10_Pin;
  GPIO_InitStruct.Mode = GPIO_MODE_AF_PP;
  GPIO_InitStruct.Pull = GPIO_NOPULL;
  GPIO_InitStruct.Speed = GPIO_SPEED_FREQ_LOW;
  GPIO_InitStruct.Alternate = GPIO_AF11_LCD;
  HAL_GPIO_Init(GPIOA, &GPIO_InitStruct);

  /*Configure GPIO pins : SEG21_Pin SEG2_Pin SEG20_Pin SEG3_Pin
                           SEG19_Pin SEG4_Pin SEG11_Pin SEG12_Pin
                           COM3_Pin */
  GPIO_InitStruct.Pin = SEG21_Pin|SEG2_Pin|SEG20_Pin|SEG3_Pin
                          |SEG19_Pin|SEG4_Pin|SEG11_Pin|SEG12_Pin
                          |COM3_Pin;
  GPIO_InitStruct.Mode = GPIO_MODE_AF_PP;
  GPIO_InitStruct.Pull = GPIO_NOPULL;
  GPIO_InitStruct.Speed = GPIO_SPEED_FREQ_LOW;
  GPIO_InitStruct.Alternate = GPIO_AF11_LCD;
  HAL_GPIO_Init(GPIOB, &GPIO_InitStruct);

  /*Configure GPIO pin : LD_R_Pin */
  GPIO_InitStruct.Pin = LD_R_Pin;
  GPIO_InitStruct.Mode = GPIO_MODE_OUTPUT_PP;
  GPIO_InitStruct.Pull = GPIO_PULLUP;
  GPIO_InitStruct.Speed = GPIO_SPEED_FREQ_VERY_HIGH;
  HAL_GPIO_Init(LD_R_GPIO_Port, &GPIO_InitStruct);

  /*Configure GPIO pin : LD_G_Pin */
  GPIO_InitStruct.Pin = LD_G_Pin;
  GPIO_InitStruct.Mode = GPIO_MODE_OUTPUT_PP;
  GPIO_InitStruct.Pull = GPIO_PULLUP;
  GPIO_InitStruct.Speed = GPIO_SPEED_FREQ_VERY_HIGH;
  HAL_GPIO_Init(LD_G_GPIO_Port, &GPIO_InitStruct);

  /*Configure GPIO pin : AUDIO_CLK_Pin */
  GPIO_InitStruct.Pin = AUDIO_CLK_Pin;
  GPIO_InitStruct.Mode = GPIO_MODE_AF_PP;
  GPIO_InitStruct.Pull = GPIO_NOPULL;
  GPIO_InitStruct.Speed = GPIO_SPEED_FREQ_LOW;
  GPIO_InitStruct.Alternate = GPIO_AF13_SAI1;
  HAL_GPIO_Init(AUDIO_CLK_GPIO_Port, &GPIO_InitStruct);

  /*Configure GPIO pin : GDO0_Pin */
  GPIO_InitStruct.Pin = GDO0_Pin;
  GPIO_InitStruct.Mode = GPIO_MODE_INPUT;
  GPIO_InitStruct.Pull = GPIO_NOPULL;
  HAL_GPIO_Init(GDO0_GPIO_Port, &GPIO_InitStruct);

  /*Configure GPIO pins : RF_on_Pin CS_Pin_Pin XL_CS_Pin */
  GPIO_InitStruct.Pin = RF_on_Pin|CS_Pin_Pin|XL_CS_Pin;
  GPIO_InitStruct.Mode = GPIO_MODE_OUTPUT_PP;
  GPIO_InitStruct.Pull = GPIO_NOPULL;
  GPIO_InitStruct.Speed = GPIO_SPEED_FREQ_LOW;
  HAL_GPIO_Init(GPIOE, &GPIO_InitStruct);

  /*Configure GPIO pins : MFX_I2C_SLC_Pin MFX_I2C_SDA_Pin */
  GPIO_InitStruct.Pin = MFX_I2C_SLC_Pin|MFX_I2C_SDA_Pin;
  GPIO_InitStruct.Mode = GPIO_MODE_AF_OD;
  GPIO_InitStruct.Pull = GPIO_PULLUP;
  GPIO_InitStruct.Speed = GPIO_SPEED_FREQ_VERY_HIGH;
  GPIO_InitStruct.Alternate = GPIO_AF4_I2C2;
  HAL_GPIO_Init(GPIOB, &GPIO_InitStruct);

  /*Configure GPIO pins : SEG18_Pin SEG5_Pin SEG17_Pin SEG6_Pin
                           SEG16_Pin SEG7_Pin SEG15_Pin SEG8_Pin */
  GPIO_InitStruct.Pin = SEG18_Pin|SEG5_Pin|SEG17_Pin|SEG6_Pin
                          |SEG16_Pin|SEG7_Pin|SEG15_Pin|SEG8_Pin;
  GPIO_InitStruct.Mode = GPIO_MODE_AF_PP;
  GPIO_InitStruct.Pull = GPIO_NOPULL;
  GPIO_InitStruct.Speed = GPIO_SPEED_FREQ_LOW;
  GPIO_InitStruct.Alternate = GPIO_AF11_LCD;
  HAL_GPIO_Init(GPIOD, &GPIO_InitStruct);

  /*Configure GPIO pins : OTG_FS_PowerSwitchOn_Pin OTG_FS_VBUS_Pin */
  GPIO_InitStruct.Pin = OTG_FS_PowerSwitchOn_Pin|OTG_FS_VBUS_Pin;
  GPIO_InitStruct.Mode = GPIO_MODE_OUTPUT_PP;
  GPIO_InitStruct.Pull = GPIO_NOPULL;
  GPIO_InitStruct.Speed = GPIO_SPEED_FREQ_LOW;
  HAL_GPIO_Init(GPIOC, &GPIO_InitStruct);

  /*Configure GPIO pins : OTG_FS_DM_Pin OTG_FS_DP_Pin */
  GPIO_InitStruct.Pin = OTG_FS_DM_Pin|OTG_FS_DP_Pin;
  GPIO_InitStruct.Mode = GPIO_MODE_AF_PP;
  GPIO_InitStruct.Pull = GPIO_NOPULL;
  GPIO_InitStruct.Speed = GPIO_SPEED_FREQ_VERY_HIGH;
  GPIO_InitStruct.Alternate = GPIO_AF10_OTG_FS;
  HAL_GPIO_Init(GPIOA, &GPIO_InitStruct);

  /*Configure GPIO pins : EXT_RST_Pin GYRO_INT1_Pin */
  GPIO_InitStruct.Pin = EXT_RST_Pin|GYRO_INT1_Pin;
  GPIO_InitStruct.Mode = GPIO_MODE_EVT_RISING;
  GPIO_InitStruct.Pull = GPIO_NOPULL;
  HAL_GPIO_Init(GPIOD, &GPIO_InitStruct);

  /*Configure GPIO pins : MEMS_SCK_Pin MEMS_MISO_Pin MEMS_MOSI_Pin */
  GPIO_InitStruct.Pin = MEMS_SCK_Pin|MEMS_MISO_Pin|MEMS_MOSI_Pin;
  GPIO_InitStruct.Mode = GPIO_MODE_AF_PP;
  GPIO_InitStruct.Pull = GPIO_NOPULL;
  GPIO_InitStruct.Speed = GPIO_SPEED_FREQ_VERY_HIGH;
  GPIO_InitStruct.Alternate = GPIO_AF5_SPI2;
  HAL_GPIO_Init(GPIOD, &GPIO_InitStruct);

  /*Configure GPIO pins : USART_TX_Pin USART_RX_Pin */
  GPIO_InitStruct.Pin = USART_TX_Pin|USART_RX_Pin;
  GPIO_InitStruct.Mode = GPIO_MODE_AF_PP;
  GPIO_InitStruct.Pull = GPIO_PULLUP;
  GPIO_InitStruct.Speed = GPIO_SPEED_FREQ_VERY_HIGH;
  GPIO_InitStruct.Alternate = GPIO_AF7_USART2;
  HAL_GPIO_Init(GPIOD, &GPIO_InitStruct);

  /*Configure GPIO pin : GYRO_CS_Pin */
  GPIO_InitStruct.Pin = GYRO_CS_Pin;
  GPIO_InitStruct.Mode = GPIO_MODE_OUTPUT_PP;
  GPIO_InitStruct.Pull = GPIO_NOPULL;
  GPIO_InitStruct.Speed = GPIO_SPEED_FREQ_VERY_HIGH;
  HAL_GPIO_Init(GYRO_CS_GPIO_Port, &GPIO_InitStruct);

  /*Configure GPIO pin : M3V3_REG_ON_Pin */
  GPIO_InitStruct.Pin = M3V3_REG_ON_Pin;
  GPIO_InitStruct.Mode = GPIO_MODE_OUTPUT_PP;
  GPIO_InitStruct.Pull = GPIO_NOPULL;
  GPIO_InitStruct.Speed = GPIO_SPEED_FREQ_LOW;
  HAL_GPIO_Init(M3V3_REG_ON_GPIO_Port, &GPIO_InitStruct);

  /*Configure GPIO pins : I2C1_SCL_Pin I2C1_SDA_Pin */
  GPIO_InitStruct.Pin = I2C1_SCL_Pin|I2C1_SDA_Pin;
  GPIO_InitStruct.Mode = GPIO_MODE_AF_OD;
  GPIO_InitStruct.Pull = GPIO_PULLUP;
  GPIO_InitStruct.Speed = GPIO_SPEED_FREQ_VERY_HIGH;
  GPIO_InitStruct.Alternate = GPIO_AF4_I2C1;
  HAL_GPIO_Init(GPIOB, &GPIO_InitStruct);

  /*Configure GPIO pin : GYRO_INT2_Pin */
  GPIO_InitStruct.Pin = GYRO_INT2_Pin;
  GPIO_InitStruct.Mode = GPIO_MODE_EVT_RISING;
  GPIO_InitStruct.Pull = GPIO_NOPULL;
  HAL_GPIO_Init(GYRO_INT2_GPIO_Port, &GPIO_InitStruct);

  /*Configure GPIO pin : XL_INT_Pin */
  GPIO_InitStruct.Pin = XL_INT_Pin;
  GPIO_InitStruct.Mode = GPIO_MODE_EVT_RISING;
  GPIO_InitStruct.Pull = GPIO_NOPULL;
  HAL_GPIO_Init(XL_INT_GPIO_Port, &GPIO_InitStruct);

}

void Error_Handler(void)
{
  __disable_irq();
  while (1)
  {
  }
}

/************************ (C) COPYRIGHT STMicroelectronics *****END OF FILE****/
